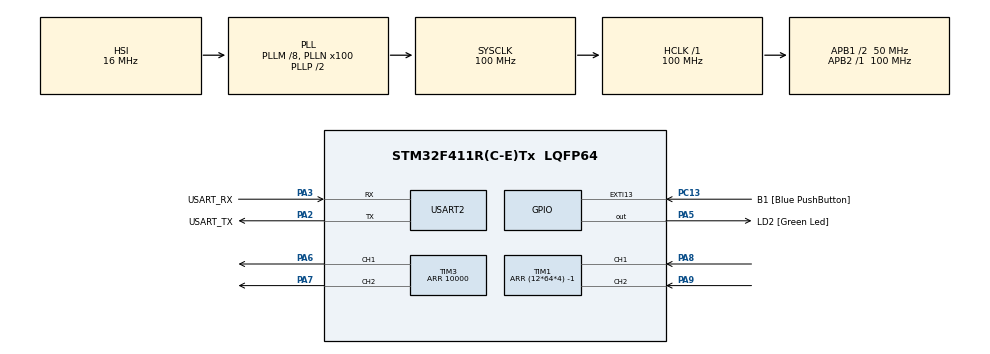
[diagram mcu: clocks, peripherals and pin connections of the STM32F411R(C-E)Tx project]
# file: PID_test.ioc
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Mcu.Family=STM32F4
Mcu.Name=STM32F411R(C-E)Tx
Mcu.Package=LQFP64
NVIC.PriorityGroup=NVIC_PRIORITYGROUP_0
NVIC.TIM5_IRQn=true\:0\:0\:false\:false\:true\:true\:true
PA13.GPIO_Label=TMS
PA13.Mode=Serial_Wire
PA13.Signal=SYS_JTMS-SWDIO
PA14.GPIO_Label=TCK
PA14.Mode=Serial_Wire
PA14.Signal=SYS_JTCK-SWCLK
PA2.GPIO_Label=USART_TX
PA2.Mode=Asynchronous
PA2.Signal=USART2_TX
PA3.GPIO_Label=USART_RX
PA3.Mode=Asynchronous
PA3.Signal=USART2_RX
PA5.GPIO_Label=LD2 [Green Led]
PA5.Signal=GPIO_Output
PA6.Signal=S_TIM3_CH1
PA7.Signal=S_TIM3_CH2
PA8.Signal=S_TIM1_CH1
PA9.Signal=S_TIM1_CH2
PB3.GPIO_Label=SWO
PB3.Signal=SYS_JTDO-SWO
PC13-ANTI_TAMP.GPIO_Label=B1 [Blue PushButton]
PC13-ANTI_TAMP.GPIO_ModeDefaultEXTI=GPIO_MODE_IT_FALLING
PC13-ANTI_TAMP.Signal=GPXTI13
PC14-OSC32_IN.Mode=LSE-External-Oscillator
PC14-OSC32_IN.Signal=RCC_OSC32_IN
PC15-OSC32_OUT.Mode=LSE-External-Oscillator
PC15-OSC32_OUT.Signal=RCC_OSC32_OUT
PH0\ -\ OSC_IN.Mode=HSE-External-Clock-Source
PH0\ -\ OSC_IN.Signal=RCC_OSC_IN
PH1\ -\ OSC_OUT.Mode=HSE-External-Clock-Source
PH1\ -\ OSC_OUT.Signal=RCC_OSC_OUT
ProjectManager.HeapSize=0x200
ProjectManager.StackSize=0x400
ProjectManager.TargetToolchain=STM32CubeIDE
RCC.48MHZClocksFreq_Value=50000000
RCC.AHBFreq_Value=100000000
RCC.APB1CLKDivider=RCC_HCLK_DIV2
RCC.APB1Freq_Value=50000000
RCC.APB1TimFreq_Value=100000000
RCC.APB2Freq_Value=100000000
RCC.APB2TimFreq_Value=100000000
RCC.CortexFreq_Value=100000000
RCC.FLatency-AdvancedSettings=FLASH_LATENCY_3
RCC.HCLKFreq_Value=100000000
RCC.HSE_VALUE=8000000
RCC.HSI_VALUE=16000000
RCC.PLLM=8
RCC.PLLN=100
RCC.SYSCLKFreq_VALUE=100000000
RCC.SYSCLKSource=RCC_SYSCLKSOURCE_PLLCLK
RCC.VCOOutputFreq_Value=200000000
SH.S_TIM1_CH1.0=TIM1_CH1,Encoder_Interface
SH.S_TIM1_CH2.0=TIM1_CH2,Encoder_Interface
SH.S_TIM3_CH1.0=TIM3_CH1,PWM Generation1 CH1
SH.S_TIM3_CH2.0=TIM3_CH2,PWM Generation2 CH2
TIM1.EncoderMode=TIM_ENCODERMODE_TI12
TIM1.Period=(12*64*4) -1
TIM3.Channel-PWM\ Generation1\ CH1=TIM_CHANNEL_1
TIM3.Channel-PWM\ Generation2\ CH2=TIM_CHANNEL_2
TIM3.Period=10000
TIM5.Prescaler=99
USART2.VirtualMode=VM_ASYNC
VP_TIM3_VS_ClockSourceINT.Mode=Internal
VP_TIM5_VS_ClockSourceINT.Mode=Internal
board=NUCLEO-F411RE

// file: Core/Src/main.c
/* USER CODE BEGIN Header */
/**
  ******************************************************************************
  * @file           : main.c
  * @brief          : Main program body
  ******************************************************************************
  * @attention
  *
  * <h2><center>&copy; Copyright (c) 2021 STMicroelectronics.
  * All rights reserved.</center></h2>
  *
  * This software component is licensed by ST under BSD 3-Clause license,
  * the "License"; You may not use this file except in compliance with the
  * License. You may obtain a copy of the License at:
  *                        opensource.org/licenses/BSD-3-Clause
  *
  ******************************************************************************
  */
/* USER CODE END Header */
#include "main.h"

/* USER CODE BEGIN Includes */
#include <math.h>
#include <stdlib.h>

/* USER CODE END Includes */

/* USER CODE BEGIN PTD */

typedef struct{

	double pre_input;
	double pre_output;
	double pre_time;
	double Wc;

} LowPass;

typedef struct{

	double kp,ki,kd;
	double tau;		// derivative low-pass filter time constant
	double max,min;	// output limit
	double dt;		// sample time
	double integral,pre_error,diff,pre_mea;

} PID;

/* USER CODE END PTD */

TIM_HandleTypeDef htim1;
TIM_HandleTypeDef htim3;
TIM_HandleTypeDef htim5;

UART_HandleTypeDef huart2;

/* USER CODE BEGIN PV */

uint64_t _micro = 0;

int encoder_value = 0;
double encoder_velocity = 0,encoder_velocity_rpm = 0;
uint64_t time_stamp = 0,time_stamp2 = 0;

LowPass lowpass_filters[10] = {0};
double Wc_arr[15] = {0.00001,0.00002,0.00003,0.00004,0.00005,0.00006,0.00007,0.00008,0.00009,0.0001} ;
double lowpass_output[15] = {0};
double kalman_output = 0;

PID pids[2] = {0};
double pid_pwm_output = 0,setpoint = 0;

double paths[1000] = {0};
int paths_ind = 0,path_n_cnt = 0;

/* USER CODE END PV */

void SystemClock_Config(void);
static void MX_GPIO_Init(void);
static void MX_USART2_UART_Init(void);
static void MX_TIM1_Init(void);
static void MX_TIM3_Init(void);
static void MX_TIM5_Init(void);
/* USER CODE BEGIN PFP */

uint64_t micros();

int unwraping_update();
double velocity_update(int cur_pos);
double low_pass_process(LowPass *lowpass,double input);
double kalman_filter_update(double U);
double pid_update(PID *pid,double setpoint,double mea);
double ppms_to_rpm(double input);
void targectory_cal(double *datas,int *n,int start_pos,int stop_pos,double dt);

/* USER CODE END PFP */

int main(void)
{

  /* MCU Configuration--------------------------------------------------------*/

  /* Reset of all peripherals, Initializes the Flash interface and the Systick. */
  HAL_Init();

  /* Configure the system clock */
  SystemClock_Config();

  /* Initialize all configured peripherals */
  MX_GPIO_Init();
  MX_USART2_UART_Init();
  MX_TIM1_Init();
  MX_TIM3_Init();
  MX_TIM5_Init();
  /* USER CODE BEGIN 2 */

  // start micro
  HAL_TIM_Base_Start_IT(&htim5);

  // start PWM
  HAL_TIM_Base_Start(&htim3);
  HAL_TIM_PWM_Start(&htim3, TIM_CHANNEL_1);
  HAL_TIM_PWM_Start(&htim3, TIM_CHANNEL_2);

  // start QEI
  HAL_TIM_Encoder_Start(&htim1, TIM_CHANNEL_ALL);

  //init lowpass_filter
  for(int i = 0;i < 10;i++){
	  lowpass_filters[i].Wc = Wc_arr[i];
  }

  //init pid
  pids[0].dt = pids[1].dt = 0.02;
  pids[0].min = pids[1].min = -10000;
  pids[0].max = pids[1].max = 10000;
  pids[0].tau = pids[1].tau = 0.02;

  /*
  pids[0].kp = 500;
  pids[0].ki = 600;
  pids[0].kd = 10;
   */

  //PID position control
  pids[1].kp = 500;
  pids[1].ki = 1000;
  pids[1].kd = 1;

  targectory_cal(paths, &path_n_cnt, 0, 180, 0.02);

  /* USER CODE END 2 */

  /* Infinite loop */
  /* USER CODE BEGIN WHILE */
  while (1)
  {

	  encoder_value = unwraping_update();

	  // read encoder with low-pass
	  if(micros() - time_stamp > 1000){ // 1kHz
		  time_stamp = micros();

		  encoder_velocity = velocity_update(encoder_value);

		  for(int i = 0;i < 10;i++){
			  lowpass_output[i] = low_pass_process(&lowpass_filters[i], encoder_velocity);
		  }

		  encoder_velocity_rpm = ppms_to_rpm(lowpass_output[1]);
		  //kalman_output = kalman_filter_update(encoder_velocity*300);
	  }

	  //pid control , system dead-time = 0.16 sec = 6.25 Hz 165000
	  if(micros() - time_stamp2 > 20000){ // 6.06Hz
	  		  time_stamp2 = micros();

	  		  //setpoint = paths_ind < path_n_cnt ? paths[paths_ind++]/6:0;
	  		  //pid_pwm_output = pid_update(&pids[0], setpoint, encoder_velocity_rpm);
	  		  pid_pwm_output = pid_update(&pids[1], setpoint, (double)encoder_value/(12*64*4-1)*360);

	  		  if(pid_pwm_output > 0){
	  			  __HAL_TIM_SET_COMPARE(&htim3,TIM_CHANNEL_1,pid_pwm_output);
	  			  __HAL_TIM_SET_COMPARE(&htim3,TIM_CHANNEL_2,0);
	  		  }
	  		  else{
	  			  __HAL_TIM_SET_COMPARE(&htim3,TIM_CHANNEL_1,0);
	  			  __HAL_TIM_SET_COMPARE(&htim3,TIM_CHANNEL_2,-pid_pwm_output);
	  		  }

	  	  }

    /* USER CODE END WHILE */

  }
}

void SystemClock_Config(void)
{
  RCC_OscInitTypeDef RCC_OscInitStruct = {0};
  RCC_ClkInitTypeDef RCC_ClkInitStruct = {0};

  /** Configure the main internal regulator output voltage
  */
  __HAL_RCC_PWR_CLK_ENABLE();
  __HAL_PWR_VOLTAGESCALING_CONFIG(PWR_REGULATOR_VOLTAGE_SCALE1);
  /** Initializes the RCC Oscillators according to the specified parameters
  * in the RCC_OscInitTypeDef structure.
  */
  RCC_OscInitStruct.OscillatorType = RCC_OSCILLATORTYPE_HSI;
  RCC_OscInitStruct.HSIState = RCC_HSI_ON;
  RCC_OscInitStruct.HSICalibrationValue = RCC_HSICALIBRATION_DEFAULT;
  RCC_OscInitStruct.PLL.PLLState = RCC_PLL_ON;
  RCC_OscInitStruct.PLL.PLLSource = RCC_PLLSOURCE_HSI;
  RCC_OscInitStruct.PLL.PLLM = 8;
  RCC_OscInitStruct.PLL.PLLN = 100;
  RCC_OscInitStruct.PLL.PLLP = RCC_PLLP_DIV2;
  RCC_OscInitStruct.PLL.PLLQ = 4;
  if (HAL_RCC_OscConfig(&RCC_OscInitStruct) != HAL_OK)
  {
    Error_Handler();
  }
  /** Initializes the CPU, AHB and APB buses clocks
  */
  RCC_ClkInitStruct.ClockType = RCC_CLOCKTYPE_HCLK|RCC_CLOCKTYPE_SYSCLK
                              |RCC_CLOCKTYPE_PCLK1|RCC_CLOCKTYPE_PCLK2;
  RCC_ClkInitStruct.SYSCLKSource = RCC_SYSCLKSOURCE_PLLCLK;
  RCC_ClkInitStruct.AHBCLKDivider = RCC_SYSCLK_DIV1;
  RCC_ClkInitStruct.APB1CLKDivider = RCC_HCLK_DIV2;
  RCC_ClkInitStruct.APB2CLKDivider = RCC_HCLK_DIV1;

  if (HAL_RCC_ClockConfig(&RCC_ClkInitStruct, FLASH_LATENCY_3) != HAL_OK)
  {
    Error_Handler();
  }
}

static void MX_TIM1_Init(void)
{

  TIM_Encoder_InitTypeDef sConfig = {0};
  TIM_MasterConfigTypeDef sMasterConfig = {0};

  htim1.Instance = TIM1;
  htim1.Init.Prescaler = 0;
  htim1.Init.CounterMode = TIM_COUNTERMODE_UP;
  htim1.Init.Period = (12*64*4) -1;
  htim1.Init.ClockDivision = TIM_CLOCKDIVISION_DIV1;
  htim1.Init.RepetitionCounter = 0;
  htim1.Init.AutoReloadPreload = TIM_AUTORELOAD_PRELOAD_DISABLE;
  sConfig.EncoderMode = TIM_ENCODERMODE_TI12;
  sConfig.IC1Polarity = TIM_ICPOLARITY_RISING;
  sConfig.IC1Selection = TIM_ICSELECTION_DIRECTTI;
  sConfig.IC1Prescaler = TIM_ICPSC_DIV1;
  sConfig.IC1Filter = 0;
  sConfig.IC2Polarity = TIM_ICPOLARITY_RISING;
  sConfig.IC2Selection = TIM_ICSELECTION_DIRECTTI;
  sConfig.IC2Prescaler = TIM_ICPSC_DIV1;
  sConfig.IC2Filter = 0;
  if (HAL_TIM_Encoder_Init(&htim1, &sConfig) != HAL_OK)
  {
    Error_Handler();
  }
  sMasterConfig.MasterOutputTrigger = TIM_TRGO_RESET;
  sMasterConfig.MasterSlaveMode = TIM_MASTERSLAVEMODE_DISABLE;
  if (HAL_TIMEx_MasterConfigSynchronization(&htim1, &sMasterConfig) != HAL_OK)
  {
    Error_Handler();
  }

}

static void MX_TIM3_Init(void)
{

  TIM_ClockConfigTypeDef sClockSourceConfig = {0};
  TIM_MasterConfigTypeDef sMasterConfig = {0};
  TIM_OC_InitTypeDef sConfigOC = {0};

  htim3.Instance = TIM3;
  htim3.Init.Prescaler = 0;
  htim3.Init.CounterMode = TIM_COUNTERMODE_UP;
  htim3.Init.Period = 10000;
  htim3.Init.ClockDivision = TIM_CLOCKDIVISION_DIV1;
  htim3.Init.AutoReloadPreload = TIM_AUTORELOAD_PRELOAD_DISABLE;
  if (HAL_TIM_Base_Init(&htim3) != HAL_OK)
  {
    Error_Handler();
  }
  sClockSourceConfig.ClockSource = TIM_CLOCKSOURCE_INTERNAL;
  if (HAL_TIM_ConfigClockSource(&htim3, &sClockSourceConfig) != HAL_OK)
  {
    Error_Handler();
  }
  if (HAL_TIM_PWM_Init(&htim3) != HAL_OK)
  {
    Error_Handler();
  }
  sMasterConfig.MasterOutputTrigger = TIM_TRGO_RESET;
  sMasterConfig.MasterSlaveMode = TIM_MASTERSLAVEMODE_DISABLE;
  if (HAL_TIMEx_MasterConfigSynchronization(&htim3, &sMasterConfig) != HAL_OK)
  {
    Error_Handler();
  }
  sConfigOC.OCMode = TIM_OCMODE_PWM1;
  sConfigOC.Pulse = 0;
  sConfigOC.OCPolarity = TIM_OCPOLARITY_HIGH;
  sConfigOC.OCFastMode = TIM_OCFAST_DISABLE;
  if (HAL_TIM_PWM_ConfigChannel(&htim3, &sConfigOC, TIM_CHANNEL_1) != HAL_OK)
  {
    Error_Handler();
  }
  if (HAL_TIM_PWM_ConfigChannel(&htim3, &sConfigOC, TIM_CHANNEL_2) != HAL_OK)
  {
    Error_Handler();
  }
  HAL_TIM_MspPostInit(&htim3);

}

static void MX_TIM5_Init(void)
{

  TIM_ClockConfigTypeDef sClockSourceConfig = {0};
  TIM_MasterConfigTypeDef sMasterConfig = {0};

  htim5.Instance = TIM5;
  htim5.Init.Prescaler = 99;
  htim5.Init.CounterMode = TIM_COUNTERMODE_UP;
  htim5.Init.Period = 4294967295;
  htim5.Init.ClockDivision = TIM_CLOCKDIVISION_DIV1;
  htim5.Init.AutoReloadPreload = TIM_AUTORELOAD_PRELOAD_DISABLE;
  if (HAL_TIM_Base_Init(&htim5) != HAL_OK)
  {
    Error_Handler();
  }
  sClockSourceConfig.ClockSource = TIM_CLOCKSOURCE_INTERNAL;
  if (HAL_TIM_ConfigClockSource(&htim5, &sClockSourceConfig) != HAL_OK)
  {
    Error_Handler();
  }
  sMasterConfig.MasterOutputTrigger = TIM_TRGO_RESET;
  sMasterConfig.MasterSlaveMode = TIM_MASTERSLAVEMODE_DISABLE;
  if (HAL_TIMEx_MasterConfigSynchronization(&htim5, &sMasterConfig) != HAL_OK)
  {
    Error_Handler();
  }

}

static void MX_USART2_UART_Init(void)
{

  huart2.Instance = USART2;
  huart2.Init.BaudRate = 115200;
  huart2.Init.WordLength = UART_WORDLENGTH_8B;
  huart2.Init.StopBits = UART_STOPBITS_1;
  huart2.Init.Parity = UART_PARITY_NONE;
  huart2.Init.Mode = UART_MODE_TX_RX;
  huart2.Init.HwFlowCtl = UART_HWCONTROL_NONE;
  huart2.Init.OverSampling = UART_OVERSAMPLING_16;
  if (HAL_UART_Init(&huart2) != HAL_OK)
  {
    Error_Handler();
  }

}

static void MX_GPIO_Init(void)
{
  GPIO_InitTypeDef GPIO_InitStruct = {0};

  /* GPIO Ports Clock Enable */
  __HAL_RCC_GPIOC_CLK_ENABLE();
  __HAL_RCC_GPIOH_CLK_ENABLE();
  __HAL_RCC_GPIOA_CLK_ENABLE();
  __HAL_RCC_GPIOB_CLK_ENABLE();

  /*Configure GPIO pin Output Level */
  HAL_GPIO_WritePin(LD2_GPIO_Port, LD2_Pin, GPIO_PIN_RESET);

  /*Configure GPIO pin : B1_Pin */
  GPIO_InitStruct.Pin = B1_Pin;
  GPIO_InitStruct.Mode = GPIO_MODE_IT_FALLING;
  GPIO_InitStruct.Pull = GPIO_NOPULL;
  HAL_GPIO_Init(B1_GPIO_Port, &GPIO_InitStruct);

  /*Configure GPIO pin : LD2_Pin */
  GPIO_InitStruct.Pin = LD2_Pin;
  GPIO_InitStruct.Mode = GPIO_MODE_OUTPUT_PP;
  GPIO_InitStruct.Pull = GPIO_NOPULL;
  GPIO_InitStruct.Speed = GPIO_SPEED_FREQ_LOW;
  HAL_GPIO_Init(LD2_GPIO_Port, &GPIO_InitStruct);

}

/* USER CODE BEGIN 4 */

static int pre_enc_cnt = 0;
static int k = 0;

#define half_enc_cnt (12*64*4)/2
#define enc_cnt 12*64*4
int unwraping_update(){

	static int cur_enc_cnt = 0;

	cur_enc_cnt = TIM1->CNT;

	if(abs((int)cur_enc_cnt - pre_enc_cnt) > half_enc_cnt){
		k+= (int)cur_enc_cnt - pre_enc_cnt > 0 ? -1 : 1 ;
	}

	pre_enc_cnt = cur_enc_cnt;
	return enc_cnt * k + cur_enc_cnt;
}

double velocity_update(int cur_pos){
	static int pre_pos = 0;
	static int pre_time = 0;
	static int cur_time = 0;

	cur_time = micros();

	double velo = (double)(cur_pos - pre_pos)/(cur_time - pre_time);

	pre_pos = cur_pos;
	pre_time = cur_time;

	return velo;

}

double ppms_to_rpm(double input){
	return input*60e6/(enc_cnt);
}

double low_pass_process(LowPass *lowpass,double input){

	double cur_time = micros();
	double delta_t = cur_time - lowpass->pre_time;
	double k = (lowpass->Wc*delta_t)/(2+ lowpass->Wc*delta_t);

	double output = (1 - 2*k)*(lowpass->pre_output) +k*(input+lowpass->pre_input);

	lowpass->pre_time = cur_time;
	lowpass->pre_input = input;
	lowpass->pre_output = output;

	return output;
}

static double R = 40; //noise covariance
static double H = 1; //measurement map scalar
static double Q = 10; //initial estimate covariance
static double P = 0 ; //initial error covariance
static double U_hat = 0; //initial estimate state
static double K = 0; //initial Kalman gain

double kalman_filter_update(double U){
	//being
	K = P*H/(H*P*H+R); //updata kalman gain
	U_hat = U_hat + (U-H*U_hat); //update estimated

	//update error covariance
	P = (1-K*H)*P+Q;

	return U_hat;
}

double pid_update(PID *pid,double setpoint,double mea){

	//Error
	double error = setpoint - mea;

	//Proportional
	double proportional = pid->kp * error;

	//Integral
	pid->integral = pid->integral + 0.5f * pid->ki * pid->dt * (error + pid->pre_error);

	//calculate integral anti wind up
	double max_i,min_i;

	max_i = pid->max > proportional ? pid->max - proportional : 0;
	min_i = pid->min < proportional ? pid->min - proportional : 0;

	//integral clamp
	if(pid->integral > max_i){
		pid->integral = max_i;
	}
	else if(pid->integral < min_i){
		pid->integral = min_i;
	}

	//Derivative
	pid->diff = -(2.0f * pid->kd * (mea - pid->pre_mea) + (2.0f * pid->tau - pid->dt) * pid->diff) / (2.0f * pid->tau + pid->dt);

	double output = proportional + pid->integral + pid->diff;

	if(output > pid->max){
		output = pid->max;
	}
	else if(output < pid->min){
		output = pid->min;
	}

	pid->pre_error = error;
	pid->pre_mea = mea;

	return output;

}

void targectory_cal(double *datas,int *n,int start_pos,int stop_pos,double dt){
    double v_max = 10*6;            // degree per sec
    double a_max = 0.5 * 57.296;    // degree per sec^2

    int dis = (stop_pos - start_pos +360)%360;
    int inverse = 0;
    if ((start_pos - stop_pos +360)%360 < dis){
        inverse = 1;
        dis = (start_pos - stop_pos +360)%360;
    }
    start_pos = 0;
    stop_pos = dis;

    double tf = 10;
    double a0 = 0;
    double a1 = 0;
    double a2 = 0;
    double a3 = 10*((double)dis)/(tf*tf*tf);
    double a4 = -15*((double)dis)/(tf*tf*tf*tf);
    double a5 = 6*((double)dis)/(tf*tf*tf*tf*tf);

    *n = (int)(tf/dt);

    double t = 0;
    for(int i =0;i < *n ; i++){
        datas[i] = a1 + 2*a2*t + 3*a3*t*t + 4*a4*t*t*t + 5*a5*t*t*t*t;
        t+=dt;
    }

    if(inverse){
        for(int i = 0;i<*n;i++){
            datas[i] *= -1;
        }
    }
}

uint64_t micros(){
	return _micro + TIM5->CNT;
}

void HAL_TIM_PeriodElapsedCallback(TIM_HandleTypeDef *htim){

	if(htim == &htim5){
		_micro += ((uint64_t)1<<32)-1;
	}

}

/* USER CODE END 4 */

void Error_Handler(void)
{
  __disable_irq();
  while (1)
  {
  }
}

/************************ (C) COPYRIGHT STMicroelectronics *****END OF FILE****/
